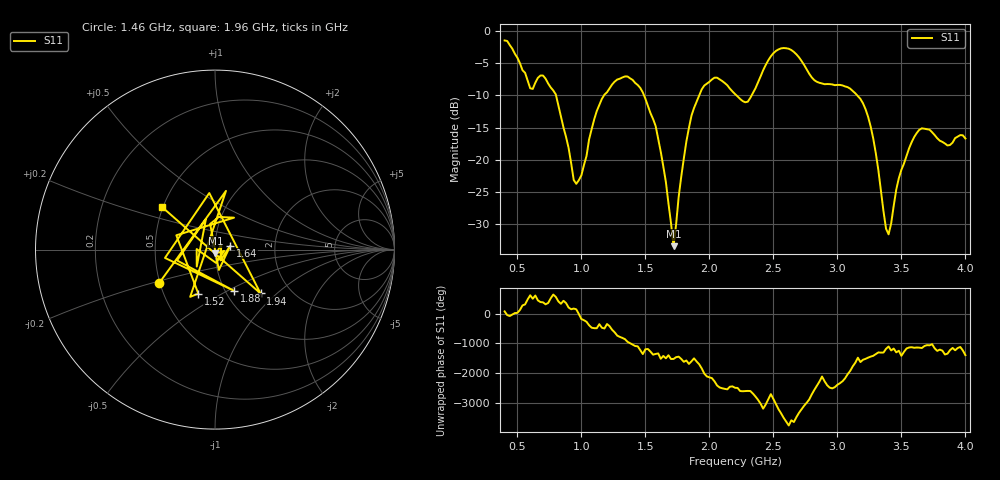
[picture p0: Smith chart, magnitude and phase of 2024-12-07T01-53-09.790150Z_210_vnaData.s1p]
!Created with skrf (http://scikit-rf.org).
# Hz S RI R 50.0
!freq ReS11 ImS11
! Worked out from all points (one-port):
!   181 points, 400 MHz to 4 GHz, reference 50 ohm
!   lowest |S11| = -33.4 dB at 1.72 GHz (marker M1), VSWR 1.04, Z = 50.1 - j2.14 ohm
!   |S11| at or under -10 dB: 801.7 MHz to 1.177 GHz (375 MHz wide, 37.9 % of centre); 1.489 GHz to 1.92 GHz (430.5 MHz wide, 25.3 % of centre); 3.154 GHz to end of sweep (the widest 3 of 4)
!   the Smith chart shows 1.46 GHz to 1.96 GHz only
!   S11 on the Smith chart (normalised r, x): 1.46 GHz: 0.50, -0.21; 1.52 GHz: 0.74, -0.39; 1.64 GHz: 1.19, +0.05; 1.88 GHz: 1.10, -0.54; 1.94 GHz: 1.42, -0.79; 1.96 GHz: 0.50, +0.27
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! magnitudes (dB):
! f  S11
! 400 MHz  -1.5
! 600 MHz  -8.9
! 720 MHz  -7.4
! 800 MHz  -9.9
! 860 MHz  -15.0
! 960 MHz  -23.7
! 1.12 GHz  -12.4
! 1.3 GHz  -7.4
! 1.46 GHz  -8.9
! 1.52 GHz  -11.6
! 1.64 GHz  -21.0
! 1.72 GHz  -33.4
! 1.76 GHz  -25.7
! 1.88 GHz  -12.0
! 1.94 GHz  -9.1
! 1.96 GHz  -8.5
! 2.2 GHz  -9.8
! 2.3 GHz  -11.0
! 2.5 GHz  -3.5
! 2.66 GHz  -3.3
! 2.82 GHz  -7.7
! 3.1 GHz  -9.0
! 3.24 GHz  -13.3
! 3.4 GHz  -31.5
! 3.48 GHz  -22.8
! 3.56 GHz  -18.2
! 3.66 GHz  -15.1
! 4 GHz  -16.7
